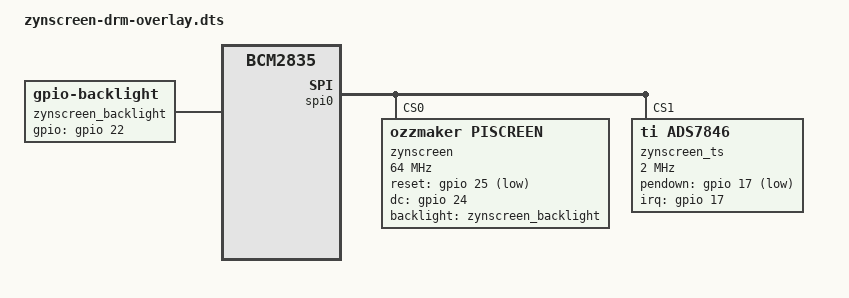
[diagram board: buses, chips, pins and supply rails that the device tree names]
/*
 * zynthian ZynScreen 3.5 (v1), the V4 kit's 480x320 SPI panel, as a DRM device: the kernel's
 * tiny DRM driver ili9486 (compatible "ozzmaker,piscreen") instead of fbtft (piscreen2r), so that
 * Wayland compositors and Qt's linuxfb/DRM output can use it. Same wiring as piscreen2r: SPI0
 * CE0, DC on GPIO 24, reset on GPIO 25, backlight on GPIO 22; the ads7846 touch controller on
 * CE1 with its pen interrupt on GPIO 17 (zynthian-sys' V4 settings).
 *
 *   dtoverlay=zynscreen-drm[,rotation=270][,speed=64000000]
 */

/dts-v1/;
/plugin/;

/ {
	compatible = "brcm,bcm2835";

	fragment@0 {
		target = <&spi0>;
		__overlay__ {
			status = "okay";
		};
	};

	fragment@1 {
		target = <&spidev0>;
		__overlay__ {
			status = "disabled";
		};
	};

	fragment@2 {
		target = <&spidev1>;
		__overlay__ {
			status = "disabled";
		};
	};

	fragment@3 {
		target = <&gpio>;
		__overlay__ {
			zynscreen_pins: zynscreen_pins {
				brcm,pins = <17 25 24 22>;
				brcm,function = <0 1 1 1>; /* in out out out */
			};
		};
	};

	fragment@4 {
		target-path = "/";
		__overlay__ {
			zynscreen_backlight: zynscreen-backlight {
				compatible = "gpio-backlight";
				gpios = <&gpio 22 0>;
				default-on;
			};
		};
	};

	fragment@5 {
		target = <&spi0>;
		__overlay__ {
			/* needed to avoid dtc warning */
			#address-cells = <1>;
			#size-cells = <0>;

			zynscreen: zynscreen@0 {
				compatible = "ozzmaker,piscreen";
				reg = <0>;
				pinctrl-names = "default";
				pinctrl-0 = <&zynscreen_pins>;
				spi-max-frequency = <64000000>;
				rotation = <270>;
				reset-gpios = <&gpio 25 1>;
				dc-gpios = <&gpio 24 0>;
				backlight = <&zynscreen_backlight>;
			};

			zynscreen_ts: zynscreen-ts@1 {
				compatible = "ti,ads7846";
				reg = <1>;
				spi-max-frequency = <2000000>;
				interrupts = <17 2>; /* high-to-low edge triggered */
				interrupt-parent = <&gpio>;
				pendown-gpio = <&gpio 17 1>;
				ti,swap-xy;
				ti,x-plate-ohms = /bits/ 16 <100>;
				ti,pressure-max = /bits/ 16 <255>;
			};
		};
	};

	__overrides__ {
		speed =		<&zynscreen>,"spi-max-frequency:0";
		rotation =	<&zynscreen>,"rotation:0";
		xohms =		<&zynscreen_ts>,"ti,x-plate-ohms;0";
	};
};
